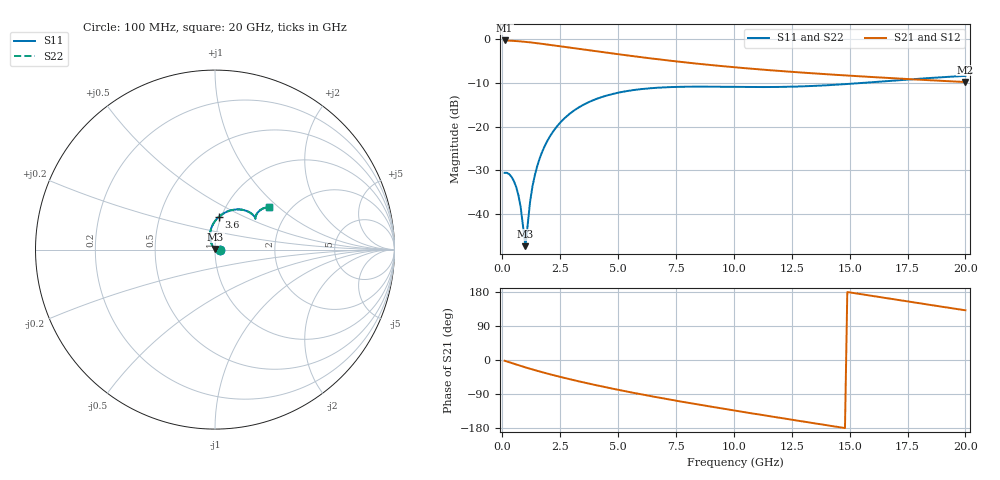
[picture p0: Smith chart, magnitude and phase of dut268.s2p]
! Created with skrf 1.9.0 (http://scikit-rf.org).
# GHz S RI R 50.0
!freq ReS11 ImS11 ReS21 ImS21 ReS12 ImS12 ReS22 ImS22
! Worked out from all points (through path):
!   200 points, 100 MHz to 20 GHz, reference 50 ohm
!   highest |S21| = -0.27 dB at 100 MHz (marker M1); lowest = -9.8 dB at 20 GHz (marker M2)
!   group delay of S21, straight-line fit = 30 ps
!   lowest |S11| = -47.4 dB at 1 GHz (marker M3), VSWR 1.01, Z = 50.2 + j0.356 ohm
!   |S11| at or under -10 dB: start of sweep to 15.56 GHz
!   |S22| runs from -47.4 to -8.4 dB; largest |S21 - S12| = 2.1e-15
!   S11 on the Smith chart (normalised r, x): 100 MHz: 1.06, -0.00; 3.6 GHz: 0.97, +0.37; 20 GHz: 1.56, +0.86
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0.1  0.0295 -0.00159  0.9692 -0.0338  0.9692 -0.0338  0.0295 -0.00159
0.4  0.026 -0.00526  0.9529 -0.1331  0.9529 -0.1331  0.026 -0.00526
0.6  0.0197 -0.00495  0.9342 -0.1966  0.9342 -0.1966  0.0197 -0.00495
0.7  0.0157 -0.00388  0.9227 -0.227  0.9227 -0.227  0.0157 -0.00388
0.8  0.0115 -0.00213  0.9099 -0.2564  0.9099 -0.2564  0.0115 -0.00213
1  0.00238 0.00354  0.8809 -0.3118  0.8809 -0.3118  0.00238 0.00354
1.2  -0.00657 0.0121  0.848 -0.3624  0.848 -0.3624  -0.00657 0.0121
1.3  -0.0107 0.0173  0.8305 -0.3859  0.8305 -0.3859  -0.0107 0.0173
1.5  -0.0181 0.0296  0.7936 -0.4294  0.7936 -0.4294  -0.0181 0.0296
1.7  -0.0236 0.0437  0.7549 -0.4683  0.7549 -0.4683  -0.0236 0.0437
2  -0.0279 0.0672  0.6949 -0.5186  0.6949 -0.5186  -0.0279 0.0672
2.4  -0.026 0.1001  0.6133 -0.5721  0.6133 -0.5721  -0.026 0.1001
2.9  -0.0124 0.1389  0.5117 -0.6203  0.5117 -0.6203  -0.0124 0.1389
3.5  0.0155 0.1768  0.3938 -0.6551  0.3938 -0.6551  0.0155 0.1768
3.6  0.0209 0.182  0.3748 -0.6588  0.3748 -0.6588  0.0209 0.182
5  0.1024 0.2218  0.1337 -0.6616  0.1337 -0.6616  0.1024 0.2218
6.8  0.1808 0.2134  -0.0983 -0.579  -0.0983 -0.579  0.1808 0.2134
8.4  0.214 0.1909  -0.2374 -0.4699  -0.2374 -0.4699  0.214 0.1909
10.1  0.2244 0.175  -0.3313 -0.3423  -0.3313 -0.3423  0.2244 0.175
13.4  0.2262 0.1846  -0.396 -0.0969  -0.396 -0.0969  0.2262 0.1846
16.7  0.2511 0.2191  -0.3429 0.11  -0.3429 0.11  0.2511 0.2191
20  0.2987 0.236  -0.2129 0.2438  -0.2129 0.2438  0.2987 0.236
